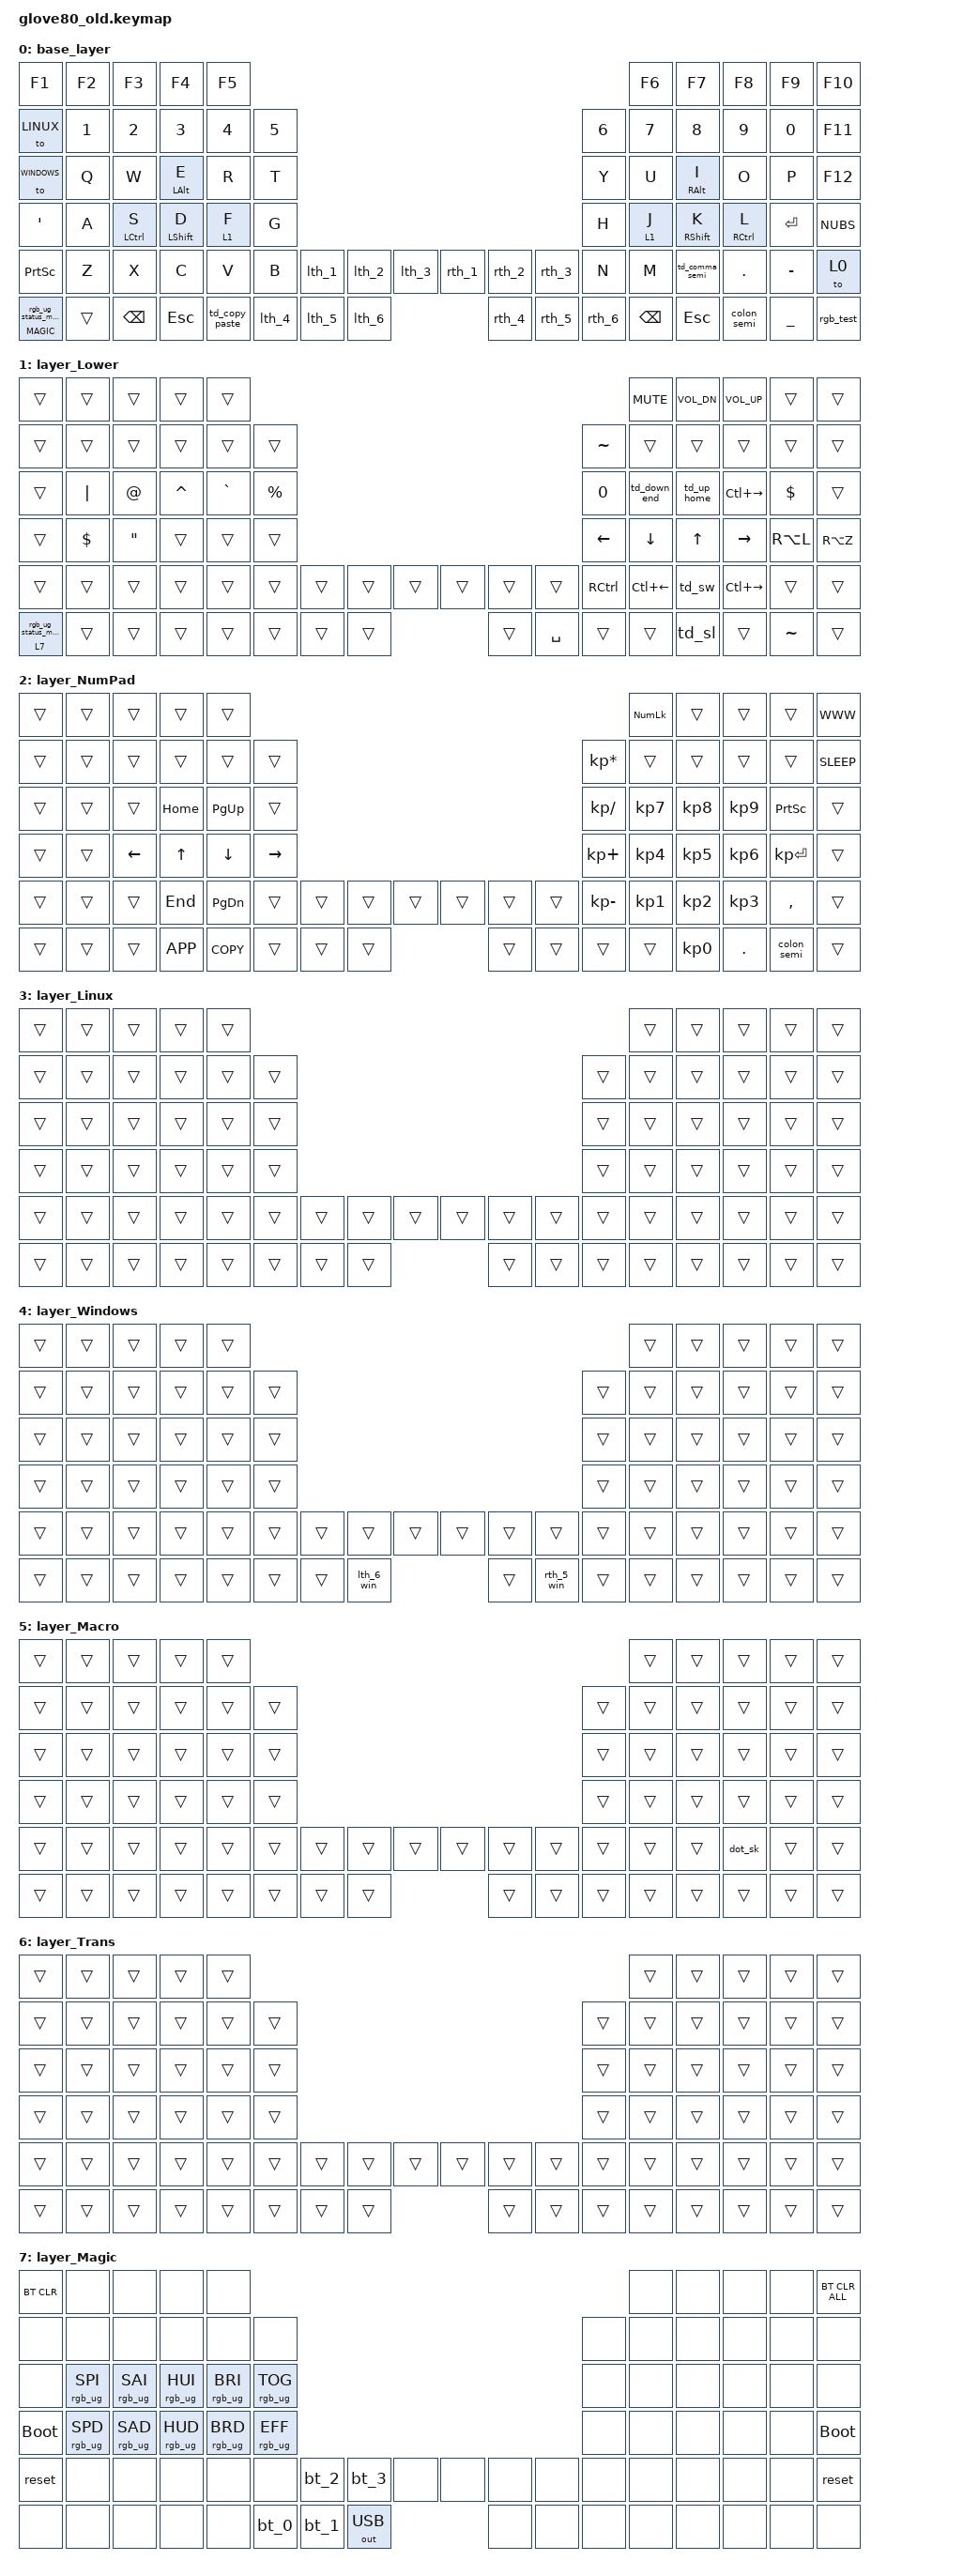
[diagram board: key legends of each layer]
/*
 * Copyright (c) 2020 The ZMK Contributors
 * Copyright (c) 2022 Innaworks Development Limited, trading as MoErgo
 *
 * SPDX-License-Identifier: MIT
 */


/* THIS FILE WAS GENERATED BY GLOVE80 LAYOUT EDITOR
 *
 * This file was generated automatically. You may or may not want to
 * edit it directly.
 */

#include <behaviors.dtsi>
/* Include all behaviour includes needed by system behaviors/macros */
#include <dt-bindings/zmk/outputs.h>

/* Include behaviour includes needed by key binds - automatically generated */
#include <dt-bindings/zmk/keys.h>
#include <dt-bindings/zmk/bt.h>
#include <dt-bindings/zmk/rgb.h>
#include <dt-bindings/zmk/outputs.h>

#define BASE 0
#define LOWER 1
#define NUMPAD 2
#define LINUX 3     /* Linux specific layer */
#define WINDOWS 4   /* Windows specific layer */ 
#define MACRO 5
#define TRANS 6
#define MAGIC 7

/ {         /* <-- Start of Root node */

    /* Glove80 system behavior & macros */
    behaviors {
        // For the "layer" key, it'd nice to be able to use it as either a shift or a toggle.
        // Configure it as a tap dance, so the first tap (or hold) is a &mo and the second tap is a &to
        lower: tap_dance_0 {
            compatible = "zmk,behavior-tap-dance";
            label = "LAYER_TAP_DANCE";
            #binding-cells = <0>;
            tapping-term-ms = <200>;
            bindings = <&mo 1>, <&to 1>;
        };
    };

    macros {
        rgb_ug_status_macro: rgb_ug_status_macro_0 {
            label = "RGB_UG_STATUS";
            compatible = "zmk,behavior-macro";
            #binding-cells = <0>;
            bindings
                = <&rgb_ug RGB_STATUS>;
        };
    };

    macros {
        bt_0: bt_profile_macro_0 {
            label = "BT_0";
            compatible = "zmk,behavior-macro";
            #binding-cells = <0>;
            bindings
                = <&out OUT_BLE>,
                  <&bt BT_SEL 0>;
        };
    };

    macros {
        bt_1: bt_profile_macro_1 {
            label = "BT_1";
            compatible = "zmk,behavior-macro";
            #binding-cells = <0>;
            bindings
                = <&out OUT_BLE>,
                  <&bt BT_SEL 1>;
        };
    };

    macros {
        bt_2: bt_profile_macro_2 {
            label = "BT_2";
            compatible = "zmk,behavior-macro";
            #binding-cells = <0>;
            bindings
                = <&out OUT_BLE>,
                  <&bt BT_SEL 2>;
        };
    };

    macros {
        bt_3: bt_profile_macro_3 {
            label = "BT_3";
            compatible = "zmk,behavior-macro";
            #binding-cells = <0>;
            bindings
                = <&out OUT_BLE>,
                  <&bt BT_SEL 3>;
        };
    };

    magic: magic_hold_tap {
        compatible = "zmk,behavior-hold-tap";
        label = "MAGIC_HOLD_TAP";
        #binding-cells = <2>;
        flavor = "tap-preferred";
        tapping-term-ms = <200>;
        bindings = <&mo>, <&rgb_ug_status_macro>;
    };

    /* Custom Defined Behaviors */
        // en_us version

/****************************************************************/
                         /* VARIABLES */
/****************************************************************/
	
#define COMBO_TIMEOUT_MS 50                /* How quickly combo keys must be pressed together */
#define TAPPING_TERM_MS 200
#define QUICK_TAP_MS 125
#define THUMB_TAP_MS 300
#define STICKY_KEY_RELEASE_AFTER_MS 2000    /* How long Sticky Keys stay pressed */
#define HOME_ROW_MODS_TAPPING_TERM_MS 300  /* How long to hold to activate home row mods for same side or mouse usage */
#define HOME_ROW_MODS_QUICK_TAP_MS 150     /* Cool down after typing before home row mods can be used */

/* Left hand key positions for use with right hand mods */
#define LEFT_HAND_KEYS \
    0  1  2  3  4      \
    10 11 12 13 14 15  \
    22 23 24 25 26 27  \
    34 35 36 37 38 39  \
    46 47 48 49 50 51  \
    64 65 66 67 68

/* Right hand key positions for use with left hand mods */
#define RIGHT_HAND_KEYS \
        5  6  7  8  9   \
    16 17 18 19 20 21   \
    28 29 30 31 32 33   \
    40 41 42 43 44 45   \
    58 59 60 61 62 63   \
       75 76 77 78 79

/* Thumb key positions for use with mods on both hands */
#define THUMB_KEYS       \
    52 53 54    55 56 57 \
    69 70 71    72 73 74

/****************************************************************/
                         /* Helper functions */
/****************************************************************/

/* Convert NAME parameters into a ZMK label string */
#define STRINGIFY(x) #x

/* COMBOS */
#define ZMK_COMBO(NAME, KEY_POSITIONS, BINDINGS)  \
    NAME {                                        \
        timeout-ms    = <COMBO_TIMEOUT_MS>;       \
        key-positions = <KEY_POSITIONS>;          \
        bindings      = <BINDINGS>;               \
    };

/* Create a ZMK behavior without having to specify the name three times */
#define ZMK_BEHAVIOR(NAME, ...)                   \
    behaviors {                                   \
        NAME: NAME {                              \
            label = STRINGIFY(ZB_ ## NAME);       \
            __VA_ARGS__                           \
        };                                        \
    };

/* "Timerless" home row mod */
#define HOME_ROW_MOD(NAME, KEY_POSITIONS)                                                                 \
    ZMK_BEHAVIOR(NAME, 											                                                              \
        compatible                 = "zmk,behavior-hold-tap";                                             \
        #binding-cells             = <2>;                                                                 \
        flavor                     = "balanced";                        /* Fast hold behavior */          \
        tapping-term-ms            = <HOME_ROW_MODS_TAPPING_TERM_MS>;   /* Mouse usage */                 \
        quick-tap-ms               = <HOME_ROW_MODS_QUICK_TAP_MS>;      /* Typing cool down */            \
        global-quick-tap;                                               /* Lockout when typing quickly */ \
        hold-trigger-key-positions = <KEY_POSITIONS>;                   /* Use opposite hand */           \
        bindings                   = <&kp>, <&kp>;                                                        \
    )

/* "Timerless" home row mod */
#define HOME_ROW_MOD_LT(NAME, KEY_POSITIONS)                                                              \
    ZMK_BEHAVIOR(NAME, 											                                                              \
        compatible                 = "zmk,behavior-hold-tap";                                             \
        #binding-cells             = <2>;                                                                 \
        flavor                     = "balanced";                        /* Fast hold behavior */          \
        tapping-term-ms            = <HOME_ROW_MODS_TAPPING_TERM_MS>;   /* Mouse usage */                 \
        quick-tap-ms               = <HOME_ROW_MODS_QUICK_TAP_MS>;      /* Typing cool down */            \
        global-quick-tap;                                               /* Lockout when typing quickly */ \
        hold-trigger-key-positions = <KEY_POSITIONS>;                   /* Use opposite hand */           \
        bindings                   = <&mo>, <&kp>;                                                        \
    )

/* Tap-dance helper */
#define TAP_DANCE_QUICK(NAME, ...) \
    ZMK_BEHAVIOR(NAME, \
        compatible      = "zmk,behavior-tap-dance"; \
        #binding-cells  = <0>; \
        tapping-term-ms = <TAPPING_TERM_MS>; \
        __VA_ARGS__ \
    )

/* Tap-dance helper with custom tapping-term-ms */
#define TAP_DANCE_CUSTOM(NAME, ...) \
    ZMK_BEHAVIOR(NAME, \
        compatible = "zmk,behavior-tap-dance"; \
        #binding-cells = <0>; \
        __VA_ARGS__ \
    )
                          
/* Hold-Tap helper */
#define HOLD_TAP(NAME, ...) \
    ZMK_BEHAVIOR(NAME, \
        compatible = "zmk,behavior-hold-tap"; \
        #binding-cells = <2>; \
        __VA_ARGS__ \
    )

/* Balanced Hold-Tap for home row mods and thumb layer keys */
#define HOLD_TAP_BALANCED(NAME, ...)   \
    HOLD_TAP(NAME,                     \
        flavor           = "balanced"; \
        __VA_ARGS__                    \
    )

/* Hold-preferred Hold-Tap */
#define HOLD_TAP_HOLD_PREFERRED(NAME, ...)    \
    HOLD_TAP(NAME,                            \
        flavor           = "hold-preferred";  \
        tapping-term-ms  = <TAPPING_TERM_MS>; \
        quick_tap_ms     = <QUICK_TAP_MS>;    \
        __VA_ARGS__                           \
    )

/* Mod-Morph helper */
#define MOD_MORPH(NAME, STANDARD, MORPHED, MODS) \
    ZMK_BEHAVIOR(NAME, \
        compatible = "zmk,behavior-mod-morph"; \
        #binding-cells = <0>; \
        bindings = <STANDARD>, <MORPHED>; \
        mods = <(MODS)>; \
    )

/* Mod-Morph that sends another key when Shift is held */
#define SHIFT_MORPH(NAME, LOWER, UPPER) \
    MOD_MORPH(NAME, LOWER, UPPER, MOD_LSFT|MOD_RSFT)

/* Wrap ZMK_MACRO to avoid needing to specify Macro node */
#define ZMKMACRO(NAME, ...) \
    macros { \
        ZMK_MACRO(NAME, __VA_ARGS__) \
    };

#define ZMK_MACRO_ZERO_PAR(name, ...) \
        behaviors { \
            name: name { \
                 label          = STRINGIFY(ZB_ ## NAME); \
                 compatible     = "zmk,behavior-macro"; \
                 #binding-cells = <0>; \
                 __VA_ARGS__ \
            }; \
        };

/* Instant key press Macro helper */
#define FAST_MACRO(NAME, BINDINGS) \
    ZMKMACRO(NAME, \
        tap-ms = <0>; \
        wait-ms = <0>; \
        bindings = <BINDINGS>; \
    )

/****************************************************************/
                         /* KEY POSITIONS */
/****************************************************************/
/* Use these key positions for Hold-Tap hold-trigger-key-positions and Combos

┌────┬────┬────┬────┬────┐                           ┌────┬────┬────┬────┬────┐
│ 0  │ 1  │ 2  │ 3  │ 4  │                           │ 5  │ 6  │ 7  │ 8  │ 9  │
├────┼────┼────┼────┼────┼────┐                 ┌────┼────┼────┼────┼────┼────┤
│ 10 │ 11 │ 12 │ 13 │ 14 │ 15 │                 │ 16 │ 17 │ 18 │ 19 │ 20 │ 21 │
├────┼────┼────┼────┼────┼────┤                 ├────┼────┼────┼────┼────┼────┤
│ 22 │ 23 │ 24 │ 25 │ 26 │ 27 │                 │ 28 │ 29 │ 30 │ 31 │ 32 │ 33 │
├────┼────┼────┼────┼────┼────┤                 ├────┼────┼────┼────┼────┼────┤
│ 34 │ 35 │ 36 │ 37 │ 38 │ 39 │                 │ 40 │ 41 │ 42 │ 43 │ 44 │ 45 │
├────┼─==─┼─==─┼─==─┼─==─┼────┤                 ├────┼─==─┼─==─┼─==─┼─==─┼────┤
│ 46 │ 47 │ 48 │ 49 │ 50 │ 51 │                 │ 58 │ 59 │ 60 │ 61 │ 62 │ 63 │
│────┼────┼────┼────┼────┼────┘                 └────┼────┼────┼────┼────┼────┤
│ 64 │ 65 │ 66 │ 67 │ 68 │                           │ 75 │ 76 │ 77 │ 78 │ 79 │
└────┴────┴────┴────┴────┘                           └────┴────┴────┴────┴────┘
                    ┌────┬────┬────┐       ┌────┬────┬────┐
                    │ 52   53   54 │       │ 55   56   57 │
                    ├────┼────┼────┤       ├────┼────┼────┤
                    │ 69   70   71 │       │ 72   73   74 │
                    └────┴────┴────┘       └────┴────┴────┘
*/

/****************************************************************/
                         /* Behavior Changes */
/****************************************************************/

    behaviors {

        behavior_caps_word {
            continue-list = <UNDERSCORE MINUS BACKSPACE DELETE FSLH>;
        };

        behavior_sticky_key {
            release-after-ms = <STICKY_KEY_RELEASE_AFTER_MS>;
            quick-release;
            ignore-modifiers;
        };
    };

/****************************************************************/
                         /* Combos */
/****************************************************************/
	
    combos {
        compatible = "zmk,combos";

        /* ----------------------------- Left Hand ------------------------------------------------------*/
        ZMK_COMBO(combo_hash_lh,         24 25, &kp HASH)            /* E & W, Top  row left hand, 0-gap */
        ZMK_COMBO(combo_exclamation_lh,  24 26, &kp EXCL)            /* R & W, Top  row left hand, 1-gap */
        ZMK_COMBO(combo_tab_lh,          25 26, &kp TAB)             /* R & E, Top  row left hand, 0-gap */

        ZMK_COMBO(combo_asterisk,        36 37, &kp STAR)            /* D & S, Home row left hand, 0-gap */
        ZMK_COMBO(combo_questionmark,    37 38, &kp QMARK)           /* F & D, BTM  row left hand, 0-gap */
        ZMK_COMBO(combo_alttab,          36 38, &alttab)             /* F & D, BTM  row left hand, 0-gap */

        ZMK_COMBO(combo_lessthan_lh,     48 49, &kp LT)              /* X & C, BTM  row left hand, 0-gap */
        ZMK_COMBO(combo_greaterthan_lh,  49 50, &kp GT)              /* C & V, BTM  row left hand, 0-gap */

        /* ----------------------------- Right Hand ------------------------------------------------------*/
        ZMK_COMBO(combo_lbracket_rh,     17 18, &kp LBKT)            /* 7 & 8, Num  row right hand, 0-gap */
        ZMK_COMBO(combo_rbracket_rh,     18 19, &kp RBKT)            /* 8 & 9, Num  row right hand, 0-gap */

        ZMK_COMBO(combo_slash_rh,        29 30, &kp SLASH)           /* U & I, Top  row right hand, 0-gap */
        ZMK_COMBO(combo_backslash_rh,    30 31, &kp BACKSLASH)       /* I & O, Top  row right hand, 0-gap */
        ZMK_COMBO(combo_and_rh,          28 29, &kp AMPS)            /* Y & U, Top  row right hand, 0-gap */
        ZMK_COMBO(combo_equals_rh,       29 31, &kp EQUAL)           /* U & O, Top  row right hand, 1-gap */

        ZMK_COMBO(combo_tilde_rh,        40 41, &kp TILDE)           /* H & J, Home row right hand, 0-gap */
        ZMK_COMBO(combo_lcurly_rh,       41 42, &kp LBRC)            /* J & K, Home row right hand, 0-gap */
        ZMK_COMBO(combo_rcurly_rh,       42 43, &kp RBRC)            /* K & L, Home row right hand, 0-gap */
        ZMK_COMBO(combo_tab_rh,          41 43, &kp TAB)             /* J & L, Home row right hand, 1-gap */

        ZMK_COMBO(combo_lparantheses_rh, 59 60, &kp LPAR)            /* M & ,, BTM  row right hand, 0-gap */
        ZMK_COMBO(combo_rparantheses_rh, 60 61, &kp RPAR)            /* , & .  BTM  row right hand, 0-gap */

        /* ----------------------------- Both hands ------------------------------------------------------*/
        ZMK_COMBO(combo_n0,              38 41, &kp N0)              /* Home row both hands, F & J */
        ZMK_COMBO(combo_dollasign,       38 43, &kp DOLLAR)          /* Home row both hands, F & L */

        ZMK_COMBO(combo_caps_word,       37 42, &caps_word)          /* Home row both hands, D & K */

        ZMK_COMBO(combo_percent,         36 43, &kp PERCENT)         /* Home row both hands, S & L */
        ZMK_COMBO(combo_caret,           25 30, &kp CARET)           /* Home row both hands, E & I */
        ZMK_COMBO(combo_grave,           48 61, &kp GRAVE)           /* Home row both hands, X & C */
/*
        ZMK_COMBO(combo_plus,            41 42, &kp PLUS)
        ZMK_COMBO(combo_minus,           42 43, &kp MINUS)
        ZMK_COMBO(combo_divide,          29 30, &kp KP_DIVIDE)
        ZMK_COMBO(combo_multiply,        30 31, &kp KP_MULTIPLY)
        ZMK_COMBO(combo_comma,           59 60, &kp KP_COMMA)
        ZMK_COMBO(combo_dot,             60 61, &kp KP_DOT)
*/
    };

/*****************************************************************************/
                                /* Home Row Mods */
/*****************************************************************************/

HOME_ROW_MOD(lhm, RIGHT_HAND_KEYS THUMB_KEYS)
HOME_ROW_MOD(rhm, LEFT_HAND_KEYS THUMB_KEYS)

HOME_ROW_MOD_LT(lhmlt, RIGHT_HAND_KEYS THUMB_KEYS)
HOME_ROW_MOD_LT(rhmlt, LEFT_HAND_KEYS THUMB_KEYS)

/*****************************************************************************/
                                /* Behaviors Functions */
/*****************************************************************************/

SHIFT_MORPH(colon_semi, &kp COLON, &kp SEMICOLON)
SHIFT_MORPH(comma_semi, &td_comma_semi, &kp SEMICOLON)

HOLD_TAP_HOLD_PREFERRED(ht_hp,  bindings = <&kp>, <&kp>;)
HOLD_TAP_HOLD_PREFERRED(ht_hpm, bindings = <&mt>, <&kp>;)

HOLD_TAP(ht_mo_kr,
    flavor = "tap-preferred";
    tapping-term-ms = <125>;
    quick_tap_ms    = <120>;
    bindings        = <&mo>, <&key_repeat>;)

HOLD_TAP(ht_mo_sk,
    flavor = "hold-preferred";
    tapping-term-ms = <THUMB_TAP_MS>;
    quick_tap_ms    = <100>;
    bindings        = <&mo>, <&sk>;)

TAP_DANCE_QUICK(td_up_home,     bindings = <&kp PAGE_UP>,   <&kp HOME>;)
TAP_DANCE_QUICK(td_down_end,    bindings = <&kp PAGE_DOWN>, <&kp DOWN>;)
TAP_DANCE_QUICK(td_sw,          bindings = <&sel_word>,     <&ext_word>;)
TAP_DANCE_QUICK(td_sl,          bindings = <&sel_line>,     <&ext_line>;)
TAP_DANCE_QUICK(td_paste_undo,  bindings = <&kp LC(V)>,     <&kp LC(Z)>;)
TAP_DANCE_QUICK(td_copy_paste,  bindings = <&kp LC(C)>,     <&kp LC(V)>;)

TAP_DANCE_CUSTOM(td_comma_semi, tapping-term-ms = <THUMB_TAP_MS>;
                                       bindings = <&kp COMMA>,     <&kp SEMICOLON>;)

 /*****************************************************************************/
                                /* THUMB KEYS */
/*****************************************************************************/

TAP_DANCE_CUSTOM(lth_1,         tapping-term-ms = <THUMB_TAP_MS>;
                                bindings = <&kp LC(F8)>,    <&kp LC(F9)>,   <&kp LC(F10)>;)

TAP_DANCE_QUICK(lth_2,          bindings = <&kp DELETE>,    <&kp LG(S)>;)

TAP_DANCE_CUSTOM(lth_3,         tapping-term-ms = <TAPPING_TERM_MS>;
                                bindings = <&ht_hp SPACE LC(TAB)>, <&kp LG(ESCAPE)>;)

TAP_DANCE_CUSTOM(lth_4,         tapping-term-ms = <TAPPING_TERM_MS>;
                                bindings = <&lt 2 RETURN>, <&alttab>;)

TAP_DANCE_CUSTOM(lth_5,         tapping-term-ms = <TAPPING_TERM_MS>;
                                bindings = <&ht_hp LGUI SPACE>, <&kp LG(D)>;)

TAP_DANCE_CUSTOM(lth_6,         tapping-term-ms = <THUMB_TAP_MS>;
                                bindings        = 
                                  <&ht_hp LALT LG(KP_N1)>
                                , <&kp LG(KP_N2)>
                                , <&kp LG(KP_N3)>
                                , <&kp LG(KP_N4)>;)

TAP_DANCE_CUSTOM(rth_1,         tapping-term-ms = <THUMB_TAP_MS>;
                                bindings = <&kp LC(LS(TAB))>, <&kp LG(E)>;)       /* TBD: */

TAP_DANCE_CUSTOM(rth_2,         tapping-term-ms = <THUMB_TAP_MS>;
                                bindings = <&kp LA(P)>, <&kp LG(E)>;)             /* TBD: */

TAP_DANCE_CUSTOM(rth_3,         tapping-term-ms = <THUMB_TAP_MS>;
                                bindings = <&kp LA(O)>, <&tog 2>;)                /* TBD: */

TAP_DANCE_CUSTOM(rth_4,         tapping-term-ms = <THUMB_TAP_MS>;
                                bindings = <&ht_mo_sk 6 RCTRL>, <&kp LA(SPACE)>;)    /* TBD: */

TAP_DANCE_CUSTOM(rth_5,         tapping-term-ms = <200>;
                                bindings = <&ht_mo_sk 2 LSHFT>, <&kp LG(ESCAPE)>;) /* TBD: */

TAP_DANCE_CUSTOM(rth_6,         tapping-term-ms = <TAPPING_TERM_MS>;
                                bindings = <&ht_mo_kr 1 0>, <&tog 1>;)

TAP_DANCE_CUSTOM(rth_5_win,     tapping-term-ms = <TAPPING_TERM_MS>;
                                bindings = <&ht_mo_sk 2 LSHFT>, <&kp LG(ESCAPE)>;) /* TBD: */

TAP_DANCE_CUSTOM(lth_6_win,     tapping-term-ms = <TAPPING_TERM_MS>;
                                bindings = <&kp LG(PAGE_DOWN)>, <&kp LG(PAGE_UP)>;) /* TBD: */

/************************************************************/
                        /* Macros */
/************************************************************/ 

ZMKMACRO(rgb_test,
    wait-ms = <0>;
    tap-ms = <0>;
    bindings
        = <&macro_press &mo 1>
        , <&macro_tap &rgb_ug RGB_COLOR_HSB(128,100,100)>
        , <&macro_pause_for_release>
        , <&macro_release &mo 1>
        , <&macro_tap &rgb_ug RGB_COLOR_HSB(300,100,50)>;
)

ZMKMACRO(alttab,
    wait-ms = <100>;
    tap-ms = <50>;
    bindings
        = <&macro_press &kp LALT>
        , <&macro_tap &kp TAB> 
        , <&macro_release &kp LALT>;
)

FAST_MACRO(sel_word,
        &macro_tap &kp LC(RIGHT)
        &macro_wait_time 1
        &macro_tap &kp LC(LEFT) &kp LC(LS(RIGHT))
)

FAST_MACRO(ext_word, 
        &macro_tap &kp LC(LS(RIGHT))
)

FAST_MACRO(sel_line, 
        &macro_tap &kp HOME &kp LS(END)
)

FAST_MACRO(ext_line, 
        &macro_tap &kp LS(DOWN) &kp LS(END)
)

FAST_MACRO(dot_sk,
        &macro_tap &kp DOT
        &macro_tap &kp SPACE
        &macro_tap &sk LSHFT
)

/************************************************************/
                        /* Keymap */
/************************************************************/

    keymap {
        compatible = "zmk,keymap";

        base_layer {
            bindings = <
// ╭─────────────┬─────────────┬─────────────┬─────────────┬─────────────┬─────────────╮                                                                                             ╭─────────────┬─────────────┬─────────────┬─────────────┬─────────────┬─────────────╮
     &kp F1        &kp F2        &kp  F3       &kp F4        &kp F5                                                                                                                                  &kp F6        &kp F7        &kp F8        &kp F9        &kp F10
// ├─────────────┼─────────────┼─────────────┼─────────────┼─────────────┼─────────────┤                                                                                             ├─────────────┼─────────────┼─────────────┼─────────────┼─────────────┼─────────────┤
     &to LINUX     &kp N1        &kp  N2       &kp N3        &kp N4        &kp N5                                                                                                      &kp N6        &kp N7        &kp N8        &kp N9        &kp N0        &kp F11
// ├─────────────┼─────────────┼─────────────┼─────────────┼─────────────┼─────────────┤                                                                                             ├─────────────┼─────────────┼─────────────┼─────────────┼─────────────┼─────────────┤
     &to WINDOWS   &kp Q         &kp W         &lhm LALT E   &kp R         &kp T                                                                                                       &kp Y         &kp U         &rhm RALT I   &kp O         &kp P         &kp F12
// ├─────────────┼─────────────┼─────────────┼─────────────┼─────────────┼─────────────┤                                                                                             ├─────────────┼─────────────┼─────────────┼─────────────┼─────────────┼─────────────┤
     &kp SQT       &kp A        &lhm LCTRL S   &lhm LSHFT D  &lhmlt 1 F    &kp G                                                                                                       &kp H         &rhmlt 1 J    &rhm RSHFT K  &rhm RCTRL L  &kp RETURN    &kp NUBS
// ├─────────────┼─────────────┼─────────────┼─────────────┼─────────────┼─────────────┤ ╭─────────────┬──────────────┬──────────────╮ ╭─────────────┬──────────────┬──────────────╮ ├─────────────┼─────────────┼─────────────┼─────────────┼─────────────┼─────────────┤
     &kp PSCRN     &kp Z         &kp X         &kp C         &kp V         &kp B           &lth_1        &lth_2         &lth_3           &rth_1        &rth_2         &rth_3           &kp N         &kp M         &td_comma_semi &kp DOT      &kp MINUS     &to 0
// ├─────────────┼─────────────┼─────────────┼─────────────┼─────────────┼─────────────┤ ├─────────────┼──────────────┼──────────────┤ ├─────────────┼──────────────┼──────────────┤ ├─────────────┼─────────────┼─────────────┼─────────────┼─────────────┼─────────────┤
     &magic MAGIC 0 &trans       &kp BSPC      &kp ESC       &td_copy_paste                &lth_4        &lth_5         &lth_6           &rth_4        &rth_5         &rth_6                         &kp BSPC      &kp ESCAPE    &colon_semi   &kp UNDER     &rgb_test
// ╰─────────────┼─────────────┼─────────────┼─────────────┼─────────────┼─────────────╯ ╰─────────────┴──────────────┴──────────────╯ ╰─────────────┴──────────────┴──────────────╯ ╰─────────────┼─────────────┼─────────────┼─────────────┼─────────────┼─────────────╯
            >;
        };

        layer_Lower {
            bindings = <
// ╭─────────────┬─────────────┬─────────────┬─────────────┬─────────────┬─────────────╮                                                                                             ╭─────────────┬─────────────┬─────────────┬─────────────┬─────────────┬─────────────╮
     &trans        &trans        &trans        &trans        &trans                                                                                                                                  &kp C_MUTE    &kp C_VOL_DN  &kp C_VOL_UP  &trans        &trans
// ├─────────────┼─────────────┼─────────────┼─────────────┼─────────────┼─────────────┤                                                                                             ├─────────────┼─────────────┼─────────────┼─────────────┼─────────────┼─────────────┤
     &trans        &trans        &trans        &trans        &trans        &trans                                                                                                      &kp TILDE     &trans        &trans        &trans        &trans        &trans
// ├─────────────┼─────────────┼─────────────┼─────────────┼─────────────┼─────────────┤                                                                                             ├─────────────┼─────────────┼─────────────┼─────────────┼─────────────┼─────────────┤
     &trans        &kp PIPE      &kp AT        &kp CARET     &kp GRAVE     &kp PRCNT                                                                                                   &kp N0        &td_down_end  &td_up_home  &kp LC(RIGHT)  &kp DOLLAR    &trans
// ├─────────────┼─────────────┼─────────────┼─────────────┼─────────────┼─────────────┤                                                                                             ├─────────────┼─────────────┼─────────────┼─────────────┼─────────────┼─────────────┤
     &trans        &kp DOLLAR    &kp DQT       &trans        &trans        &trans                                                                                                      &kp LEFT      &kp DOWN      &kp UP        &kp RIGHT     &kp RA(L)     &kp RA(Z)
// ├─────────────┼─────────────┼─────────────┼─────────────┼─────────────┼─────────────┤ ╭─────────────┬──────────────┬──────────────╮ ╭─────────────┬──────────────┬──────────────╮ ├─────────────┼─────────────┼─────────────┼─────────────┼─────────────┼─────────────┤
     &trans        &trans        &trans        &trans        &trans        &trans          &trans        &trans         &trans           &trans        &trans         &trans           &kp RCTRL     &kp LC(LEFT)  &td_sw        &kp LC(RIGHT) &trans        &trans
// ├─────────────┼─────────────┼─────────────┼─────────────┼─────────────┼─────────────┤ ├─────────────┼──────────────┼──────────────┤ ├─────────────┼──────────────┼──────────────┤ ├─────────────┼─────────────┼─────────────┼─────────────┼─────────────┼─────────────┤
     &magic 7 0    &trans        &trans        &trans        &trans                        &trans        &trans         &trans           &trans        &kp SPACE      &trans                         &trans        &td_sl        &trans        &kp TILDE     &trans
// ╰─────────────┴─────────────┴─────────────┴─────────────┴─────────────┴─────────────╯ ╰─────────────┴──────────────┴──────────────╯ ╰─────────────┴──────────────┴──────────────╯ ╰─────────────┴─────────────┴─────────────┴─────────────┴─────────────┴─────────────╯
            >;
        };

        layer_NumPad {
            bindings = <
// ╭─────────────┬─────────────┬─────────────┬─────────────┬─────────────┬─────────────╮                                                                                             ╭─────────────┬─────────────┬─────────────┬─────────────┬─────────────┬─────────────╮
     &trans        &trans        &trans        &trans        &trans                                                                                                                                    &kp KP_NUM   &trans       &trans        &trans        &kp K_WWW
// ├─────────────┼─────────────┼─────────────┼─────────────┼─────────────┼─────────────┤                                                                                             ├─────────────┼─────────────┼─────────────┼─────────────┼─────────────┼─────────────┤
     &trans        &trans        &trans        &trans        &trans        &trans                                                                                                      &kp KP_MULTIPLY &trans       &trans       &trans        &trans        &kp K_SLEEP
// ├─────────────┼─────────────┼─────────────┼─────────────┼─────────────┼─────────────┤                                                                                             ├─────────────┼─────────────┼─────────────┼─────────────┼─────────────┼─────────────┤
     &trans        &trans        &trans        &kp HOME      &kp PG_UP     &trans                                                                                                      &kp KP_SLASH    &kp KP_N7    &kp KP_N8    &kp KP_N9     &kp PSCRN     &trans
// ├─────────────┼─────────────┼─────────────┼─────────────┼─────────────┼─────────────┤                                                                                             ├─────────────┼─────────────┼─────────────┼─────────────┼─────────────┼─────────────┤
     &trans        &trans        &kp LEFT      &kp UP        &kp DOWN      &kp RIGHT                                                                                                   &kp KP_PLUS     &kp KP_N4    &kp KP_N5    &kp KP_N6     &kp KP_ENTER  &trans
// ├─────────────┼─────────────┼─────────────┼─────────────┼─────────────┼─────────────┤ ╭─────────────┬──────────────┬──────────────╮ ╭─────────────┬──────────────┬──────────────╮ ├─────────────┼─────────────┼─────────────┼─────────────┼─────────────┼─────────────┤
     &trans        &trans        &trans        &kp END       &kp PG_DN     &trans          &trans        &trans         &trans           &trans        &trans         &trans           &kp KP_MINUS    &kp KP_N1    &kp KP_N2    &kp KP_N3     &kp COMMA     &trans
// ├─────────────┼─────────────┼─────────────┼─────────────┼─────────────┼─────────────┤ ├─────────────┼──────────────┼──────────────┤ ├─────────────┼──────────────┼──────────────┤ ├─────────────┼─────────────┼─────────────┼─────────────┼─────────────┼─────────────┤
     &trans        &trans        &trans        &kp K_APP     &kp K_COPY                    &trans        &trans         &trans           &trans        &trans         &trans                           &trans       &kp KP_N0    &kp DOT       &colon_semi   &trans
// ╰─────────────┴─────────────┴─────────────┴─────────────┴─────────────┴─────────────╯ ╰─────────────┴──────────────┴──────────────╯ ╰─────────────┴──────────────┴──────────────╯ ╰─────────────┴─────────────┴─────────────┴─────────────┴─────────────┴─────────────╯
            >;
        };

        layer_Linux {
            bindings = <
// ╭─────────────┬─────────────┬─────────────┬─────────────┬─────────────┬─────────────╮                                                                                             ╭─────────────┬─────────────┬─────────────┬─────────────┬─────────────┬─────────────╮
     &trans        &trans        &trans        &trans        &trans                                                                                                                                  &trans        &trans        &trans        &trans        &trans
// ├─────────────┼─────────────┼─────────────┼─────────────┼─────────────┼─────────────┤                                                                                             ├─────────────┼─────────────┼─────────────┼─────────────┼─────────────┼─────────────┤
     &trans        &trans        &trans        &trans        &trans        &trans                                                                                                      &trans        &trans        &trans        &trans        &trans        &trans
// ├─────────────┼─────────────┼─────────────┼─────────────┼─────────────┼─────────────┤                                                                                             ├─────────────┼─────────────┼─────────────┼─────────────┼─────────────┼─────────────┤
     &trans        &trans        &trans        &trans        &trans        &trans                                                                                                      &trans        &trans        &trans        &trans        &trans        &trans
// ├─────────────┼─────────────┼─────────────┼─────────────┼─────────────┼─────────────┤                                                                                             ├─────────────┼─────────────┼─────────────┼─────────────┼─────────────┼─────────────┤
     &trans        &trans        &trans        &trans        &trans        &trans                                                                                                      &trans        &trans        &trans        &trans        &trans        &trans
// ├─────────────┼─────────────┼─────────────┼─────────────┼─────────────┼─────────────┤ ╭─────────────┬──────────────┬──────────────╮ ╭─────────────┬──────────────┬──────────────╮ ├─────────────┼─────────────┼─────────────┼─────────────┼─────────────┼─────────────┤
     &trans        &trans        &trans        &trans        &trans        &trans          &trans        &trans         &trans           &trans        &trans         &trans           &trans        &trans        &trans        &trans        &trans        &trans
// ├─────────────┼─────────────┼─────────────┼─────────────┼─────────────┼─────────────┤ ├─────────────┼──────────────┼──────────────┤ ├─────────────┼──────────────┼──────────────┤ ├─────────────┼─────────────┼─────────────┼─────────────┼─────────────┼─────────────┤
     &trans        &trans        &trans        &trans        &trans                        &trans        &trans         &trans           &trans        &trans         &trans                         &trans        &trans        &trans        &trans        &trans
// ╰─────────────┴─────────────┴─────────────┴─────────────┴─────────────┴─────────────╯ ╰─────────────┴──────────────┴──────────────╯ ╰─────────────┴──────────────┴──────────────╯ ╰─────────────┴─────────────┴─────────────┴─────────────┴─────────────┴─────────────╯
            >;
        };

/*TODO: Add custom Windows commands */
        layer_Windows {
            bindings = <
// ╭─────────────┬─────────────┬─────────────┬─────────────┬─────────────┬─────────────╮                                                                                             ╭─────────────┬─────────────┬─────────────┬─────────────┬─────────────┬─────────────╮
     &trans        &trans        &trans        &trans        &trans                                                                                                                                  &trans        &trans        &trans        &trans        &trans
// ├─────────────┼─────────────┼─────────────┼─────────────┼─────────────┼─────────────┤                                                                                             ├─────────────┼─────────────┼─────────────┼─────────────┼─────────────┼─────────────┤
     &trans        &trans        &trans        &trans        &trans        &trans                                                                                                      &trans        &trans        &trans        &trans        &trans        &trans
// ├─────────────┼─────────────┼─────────────┼─────────────┼─────────────┼─────────────┤                                                                                             ├─────────────┼─────────────┼─────────────┼─────────────┼─────────────┼─────────────┤
     &trans        &trans        &trans        &trans        &trans        &trans                                                                                                      &trans        &trans        &trans        &trans        &trans        &trans
// ├─────────────┼─────────────┼─────────────┼─────────────┼─────────────┼─────────────┤                                                                                             ├─────────────┼─────────────┼─────────────┼─────────────┼─────────────┼─────────────┤
     &trans        &trans        &trans        &trans        &trans        &trans                                                                                                      &trans        &trans        &trans        &trans        &trans        &trans
// ├─────────────┼─────────────┼─────────────┼─────────────┼─────────────┼─────────────┤ ╭─────────────┬──────────────┬──────────────╮ ╭─────────────┬──────────────┬──────────────╮ ├─────────────┼─────────────┼─────────────┼─────────────┼─────────────┼─────────────┤
     &trans        &trans        &trans        &trans        &trans        &trans          &trans        &trans         &trans           &trans        &trans         &trans           &trans        &trans        &trans        &trans        &trans        &trans
// ├─────────────┼─────────────┼─────────────┼─────────────┼─────────────┼─────────────┤ ├─────────────┼──────────────┼──────────────┤ ├─────────────┼──────────────┼──────────────┤ ├─────────────┼─────────────┼─────────────┼─────────────┼─────────────┼─────────────┤
     &trans        &trans        &trans        &trans        &trans                        &trans        &trans         &lth_6_win       &trans        &rth_5_win     &trans                         &trans        &trans        &trans        &trans        &trans
// ╰─────────────┴─────────────┴─────────────┴─────────────┴─────────────┴─────────────╯ ╰─────────────┴──────────────┴──────────────╯ ╰─────────────┴──────────────┴──────────────╯ ╰─────────────┴─────────────┴─────────────┴─────────────┴─────────────┴─────────────╯
            >;
        };

        layer_Macro {
            bindings = <
// ╭─────────────┬─────────────┬─────────────┬─────────────┬─────────────┬─────────────╮                                                                                             ╭─────────────┬─────────────┬─────────────┬─────────────┬─────────────┬─────────────╮
     &trans        &trans        &trans        &trans        &trans                                                                                                                                  &trans        &trans        &trans        &trans        &trans
// ├─────────────┼─────────────┼─────────────┼─────────────┼─────────────┼─────────────┤                                                                                             ├─────────────┼─────────────┼─────────────┼─────────────┼─────────────┼─────────────┤
     &trans        &trans        &trans        &trans        &trans        &trans                                                                                                      &trans        &trans        &trans        &trans        &trans        &trans
// ├─────────────┼─────────────┼─────────────┼─────────────┼─────────────┼─────────────┤                                                                                             ├─────────────┼─────────────┼─────────────┼─────────────┼─────────────┼─────────────┤
     &trans        &trans        &trans        &trans        &trans        &trans                                                                                                      &trans        &trans        &trans        &trans        &trans        &trans
// ├─────────────┼─────────────┼─────────────┼─────────────┼─────────────┼─────────────┤                                                                                             ├─────────────┼─────────────┼─────────────┼─────────────┼─────────────┼─────────────┤
     &trans        &trans        &trans        &trans        &trans        &trans                                                                                                      &trans        &trans        &trans        &trans        &trans        &trans
// ├─────────────┼─────────────┼─────────────┼─────────────┼─────────────┼─────────────┤ ╭─────────────┬──────────────┬──────────────╮ ╭─────────────┬──────────────┬──────────────╮ ├─────────────┼─────────────┼─────────────┼─────────────┼─────────────┼─────────────┤
     &trans        &trans        &trans        &trans        &trans        &trans          &trans        &trans         &trans           &trans        &trans         &trans           &trans        &trans        &trans        &dot_sk       &trans        &trans
// ├─────────────┼─────────────┼─────────────┼─────────────┼─────────────┼─────────────┤ ├─────────────┼──────────────┼──────────────┤ ├─────────────┼──────────────┼──────────────┤ ├─────────────┼─────────────┼─────────────┼─────────────┼─────────────┼─────────────┤
     &trans        &trans        &trans        &trans        &trans                        &trans        &trans         &trans           &trans        &trans         &trans                         &trans        &trans        &trans        &trans        &trans
// ╰─────────────┴─────────────┴─────────────┴─────────────┴─────────────┴─────────────╯ ╰─────────────┴──────────────┴──────────────╯ ╰─────────────┴──────────────┴──────────────╯ ╰─────────────┴─────────────┴─────────────┴─────────────┴─────────────┴─────────────╯
            >;
        };

        layer_Trans {
            bindings = <
// ╭─────────────┬─────────────┬─────────────┬─────────────┬─────────────┬─────────────╮                                                                                             ╭─────────────┬─────────────┬─────────────┬─────────────┬─────────────┬─────────────╮
     &trans        &trans        &trans        &trans        &trans                                                                                                                                  &trans        &trans        &trans        &trans        &trans
// ├─────────────┼─────────────┼─────────────┼─────────────┼─────────────┼─────────────┤                                                                                             ├─────────────┼─────────────┼─────────────┼─────────────┼─────────────┼─────────────┤
     &trans        &trans        &trans        &trans        &trans        &trans                                                                                                      &trans        &trans        &trans        &trans        &trans        &trans
// ├─────────────┼─────────────┼─────────────┼─────────────┼─────────────┼─────────────┤                                                                                             ├─────────────┼─────────────┼─────────────┼─────────────┼─────────────┼─────────────┤
     &trans        &trans        &trans        &trans        &trans        &trans                                                                                                      &trans        &trans        &trans        &trans        &trans        &trans
// ├─────────────┼─────────────┼─────────────┼─────────────┼─────────────┼─────────────┤                                                                                             ├─────────────┼─────────────┼─────────────┼─────────────┼─────────────┼─────────────┤
     &trans        &trans        &trans        &trans        &trans        &trans                                                                                                      &trans        &trans        &trans        &trans        &trans        &trans
// ├─────────────┼─────────────┼─────────────┼─────────────┼─────────────┼─────────────┤ ╭─────────────┬──────────────┬──────────────╮ ╭─────────────┬──────────────┬──────────────╮ ├─────────────┼─────────────┼─────────────┼─────────────┼─────────────┼─────────────┤
     &trans        &trans        &trans        &trans        &trans        &trans          &trans        &trans         &trans           &trans        &trans         &trans           &trans        &trans        &trans        &trans        &trans        &trans
// ├─────────────┼─────────────┼─────────────┼─────────────┼─────────────┼─────────────┤ ├─────────────┼──────────────┼──────────────┤ ├─────────────┼──────────────┼──────────────┤ ├─────────────┼─────────────┼─────────────┼─────────────┼─────────────┼─────────────┤
     &trans        &trans        &trans        &trans        &trans                        &trans        &trans         &trans           &trans        &trans         &trans                         &trans        &trans        &trans        &trans        &trans
// ╰─────────────┴─────────────┴─────────────┴─────────────┴─────────────┴─────────────╯ ╰─────────────┴──────────────┴──────────────╯ ╰─────────────┴──────────────┴──────────────╯ ╰─────────────┴─────────────┴─────────────┴─────────────┴─────────────┴─────────────╯
            >;
        };

layer_Magic {
            bindings = <
// ╭─────────────┬─────────────┬─────────────┬─────────────┬─────────────┬─────────────╮                                                                                             ╭─────────────┬─────────────┬─────────────┬─────────────┬─────────────┬─────────────╮
     &bt BT_CLR    &none         &none         &none         &none                                                                                                                                   &none         &none         &none         &none         &bt BT_CLR_ALL
// ├─────────────┼─────────────┼─────────────┼─────────────┼─────────────┼─────────────┤                                                                                             ├─────────────┼─────────────┼─────────────┼─────────────┼─────────────┼─────────────┤
     &none         &none         &none         &none         &none         &none                                                                                                       &none         &none         &none         &none         &none         &none
// ├─────────────┼─────────────┼─────────────┼─────────────┼─────────────┼─────────────┤                                                                                             ├─────────────┼─────────────┼─────────────┼─────────────┼─────────────┼─────────────┤
     &none      &rgb_ug RGB_SPI &rgb_ug RGB_SAI &rgb_ug RGB_HUI &rgb_ug RGB_BRI &rgb_ug RGB_TOG                                                                                        &none         &none         &none         &none         &none         &none
// ├─────────────┼─────────────┼─────────────┼─────────────┼─────────────┼─────────────┤                                                                                             ├─────────────┼─────────────┼─────────────┼─────────────┼─────────────┼─────────────┤
    &bootloader &rgb_ug RGB_SPD &rgb_ug RGB_SAD &rgb_ug RGB_HUD &rgb_ug RGB_BRD &rgb_ug RGB_EFF                                                                                        &none         &none         &none         &none         &none         &bootloader
// ├─────────────┼─────────────┼─────────────┼─────────────┼─────────────┼─────────────┤ ╭─────────────┬──────────────┬──────────────╮ ╭─────────────┬──────────────┬──────────────╮ ├─────────────┼─────────────┼─────────────┼─────────────┼─────────────┼─────────────┤
     &reset        &none         &none         &none         &none         &none           &bt_2         &bt_3          &none            &none         &none          &none            &none         &none         &none         &none         &none         &reset
// ├─────────────┼─────────────┼─────────────┼─────────────┼─────────────┼─────────────┤ ├─────────────┼──────────────┼──────────────┤ ├─────────────┼──────────────┼──────────────┤ ├─────────────┼─────────────┼─────────────┼─────────────┼─────────────┼─────────────┤
     &none         &none         &none         &none         &none                         &bt_0         &bt_1          &out OUT_USB     &none         &none          &none                          &none         &none         &none         &none         &none
// ╰─────────────┴─────────────┴─────────────┴─────────────┴─────────────┴─────────────╯ ╰─────────────┴──────────────┴──────────────╯ ╰─────────────┴──────────────┴──────────────╯ ╰─────────────┴─────────────┴─────────────┴─────────────┴─────────────┴─────────────╯
            >;
        };

    };
};               /* <-- End of Root node */
